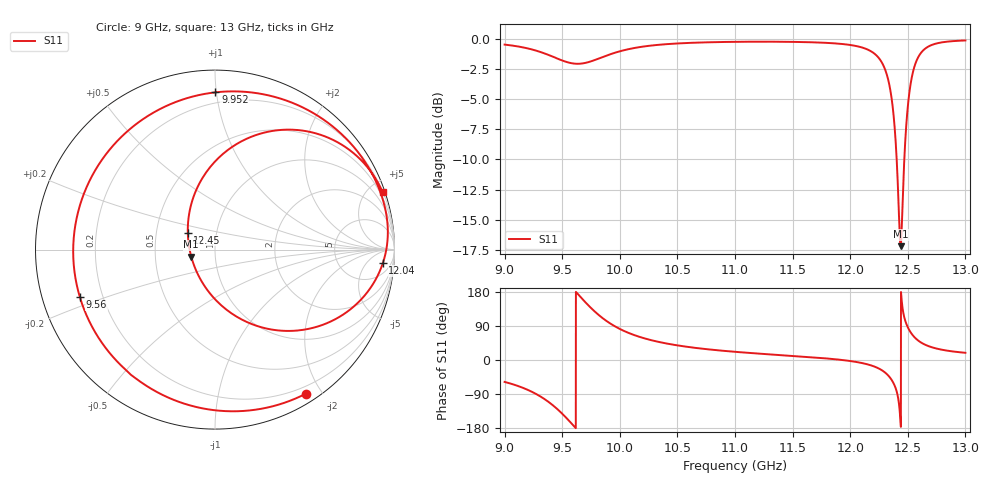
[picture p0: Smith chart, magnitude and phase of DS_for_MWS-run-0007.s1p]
! TOUCHSTONE file generated by CST DESIGN STUDIO
! Date and time: Tue Feb  4 13:42:07 2025
! Project name: C:\Work\MatlabApps\UnitCellOptimizationMatlab\CST\unitcell.cst
! Tree item: Tasks\Sweep1\SPara1\S-Parameters
! Header version: 2024
! Port assignment regex: !\s*Touchstone port\s*([0-9]+)\s*=\s*(CST MWS port|CST DES external port|CST DES block port)\s*(.+)\s* \(\"(.*)\"\)(\s*mode\s*([0-9]+))?.*
! Touchstone port assignment:
! Touchstone port 1 = CST DES external port 1 ("")
# GHz S MA R 50
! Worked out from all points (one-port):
!   4001 points, 9 GHz to 13 GHz, reference 50 ohm
!   lowest |S11| = -17.2 dB at 12.44 GHz (marker M1), VSWR 1.32, Z = 38.2 - j3.03 ohm
!   |S11| at or under -10 dB: 12.4 GHz to 12.47 GHz (66.14 MHz wide, 0.532 % of centre)
!   S11 on the Smith chart (normalised r, x): 9 GHz: 0.11, -1.81; 9.56 GHz: 0.12, -0.17; 9.952 GHz: 0.13, +0.99; 12.04 GHz: 12, -15; 12.45 GHz: 0.73, +0.14; 13 GHz: 0.24, +5.97
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9  0.9489 -57.8
9.157  0.9245 -73.2
9.308  0.8851 -95.7
9.408  0.8495 -116.8
9.5  0.8151 -141.7
9.56  0.7981 -160.5
9.659  0.7907 166.2
9.77  0.8145 131.4
9.856  0.8441 109.3
9.952  0.8761 89.9
10  0.8899 82.0
10.218  0.9333 56.8
10.5  0.9593 38.6
11  0.9743 21.6
11.5  0.9739 10.8
12  0.9456 -2.7
12.041  0.9384 -4.6
12.238  0.8458 -20.9
12.298  0.7582 -31.9
12.349  0.6115 -47.8
12.394  0.3794 -73.8
12.437  0.1379 -163.6
12.45  0.1787 148.0
12.5  0.524 86.4
12.557  0.7671 60.5
12.665  0.9232 38.4
12.792  0.9687 27.3
13  0.9873 19.0
